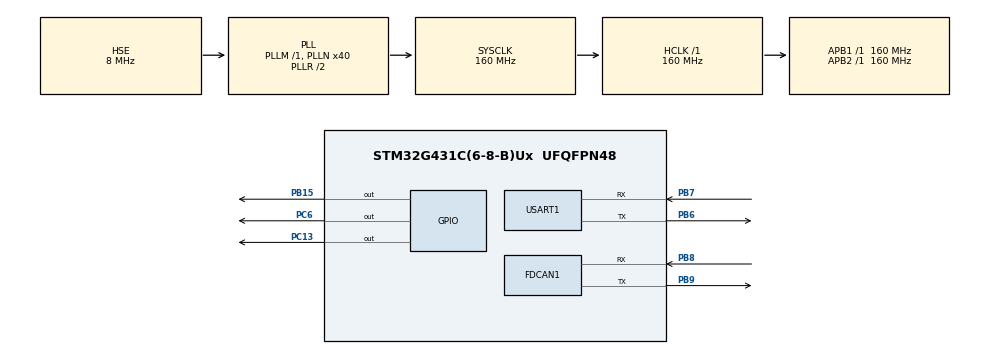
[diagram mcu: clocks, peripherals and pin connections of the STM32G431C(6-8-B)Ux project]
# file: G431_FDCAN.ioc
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Dma.Request0=USART1_RX
Dma.Request1=USART1_TX
Dma.USART1_RX.0.Direction=DMA_PERIPH_TO_MEMORY
Dma.USART1_RX.0.EventEnable=DISABLE
Dma.USART1_RX.0.Instance=DMA1_Channel1
Dma.USART1_RX.0.MemDataAlignment=DMA_MDATAALIGN_HALFWORD
Dma.USART1_RX.0.MemInc=DMA_MINC_ENABLE
Dma.USART1_RX.0.Mode=DMA_CIRCULAR
Dma.USART1_RX.0.PeriphDataAlignment=DMA_PDATAALIGN_BYTE
Dma.USART1_RX.0.PeriphInc=DMA_PINC_DISABLE
Dma.USART1_RX.0.Polarity=HAL_DMAMUX_REQ_GEN_RISING
Dma.USART1_RX.0.Priority=DMA_PRIORITY_LOW
Dma.USART1_RX.0.RequestNumber=1
Dma.USART1_RX.0.SignalID=NONE
Dma.USART1_RX.0.SyncEnable=DISABLE
Dma.USART1_RX.0.SyncPolarity=HAL_DMAMUX_SYNC_NO_EVENT
Dma.USART1_RX.0.SyncRequestNumber=1
Dma.USART1_RX.0.SyncSignalID=NONE
Dma.USART1_TX.1.Direction=DMA_MEMORY_TO_PERIPH
Dma.USART1_TX.1.EventEnable=DISABLE
Dma.USART1_TX.1.Instance=DMA1_Channel2
Dma.USART1_TX.1.MemDataAlignment=DMA_MDATAALIGN_BYTE
Dma.USART1_TX.1.MemInc=DMA_MINC_ENABLE
Dma.USART1_TX.1.Mode=DMA_NORMAL
Dma.USART1_TX.1.PeriphDataAlignment=DMA_PDATAALIGN_BYTE
Dma.USART1_TX.1.PeriphInc=DMA_PINC_DISABLE
Dma.USART1_TX.1.Polarity=HAL_DMAMUX_REQ_GEN_RISING
Dma.USART1_TX.1.Priority=DMA_PRIORITY_LOW
Dma.USART1_TX.1.RequestNumber=1
Dma.USART1_TX.1.SignalID=NONE
Dma.USART1_TX.1.SyncEnable=DISABLE
Dma.USART1_TX.1.SyncPolarity=HAL_DMAMUX_SYNC_NO_EVENT
Dma.USART1_TX.1.SyncRequestNumber=1
Dma.USART1_TX.1.SyncSignalID=NONE
FDCAN1.AutoRetransmission=ENABLE
FDCAN1.ClockDivider=FDCAN_CLOCK_DIV1
FDCAN1.DataPrescaler=4
FDCAN1.DataSyncJumpWidth=2
FDCAN1.DataTimeSeg1=7
FDCAN1.DataTimeSeg2=2
FDCAN1.FrameFormat=FDCAN_FRAME_FD_NO_BRS
FDCAN1.NominalPrescaler=4
FDCAN1.NominalSyncJumpWidth=6
FDCAN1.NominalTimeSeg1=33
FDCAN1.NominalTimeSeg2=6
FDCAN1.TransmitPause=ENABLE
FDCAN1.TxFifoQueueMode=FDCAN_TX_FIFO_OPERATION
Mcu.Family=STM32G4
Mcu.Name=STM32G431C(6-8-B)Ux
Mcu.Package=UFQFPN48
NVIC.DMA1_Channel1_IRQn=true\:0\:0\:false\:false\:true\:false\:true
NVIC.DMA1_Channel2_IRQn=true\:0\:0\:false\:false\:true\:false\:true
NVIC.FDCAN1_IT0_IRQn=true\:2\:0\:true\:false\:true\:true\:true
NVIC.PriorityGroup=NVIC_PRIORITYGROUP_4
NVIC.TIM1_UP_TIM16_IRQn=true\:1\:0\:true\:false\:true\:true\:true
NVIC.USART1_IRQn=true\:2\:0\:true\:false\:true\:true\:true
PA13.Mode=Serial_Wire
PA13.Signal=SYS_JTMS-SWDIO
PA14.Mode=Serial_Wire
PA14.Signal=SYS_JTCK-SWCLK
PB15.GPIO_PuPd=GPIO_PULLDOWN
PB15.GPIO_Speed=GPIO_SPEED_FREQ_MEDIUM
PB15.PinState=GPIO_PIN_RESET
PB15.Signal=GPIO_Output
PB6.Mode=Asynchronous
PB6.Signal=USART1_TX
PB7.Mode=Asynchronous
PB7.Signal=USART1_RX
PB8-BOOT0.GPIO_PuPd=GPIO_PULLUP
PB8-BOOT0.GPIO_Speed=GPIO_SPEED_FREQ_HIGH
PB8-BOOT0.Mode=FDCAN_Activate
PB8-BOOT0.Signal=FDCAN1_RX
PB9.GPIO_PuPd=GPIO_PULLUP
PB9.GPIO_Speed=GPIO_SPEED_FREQ_HIGH
PB9.Mode=FDCAN_Activate
PB9.Signal=FDCAN1_TX
PC13.GPIO_PuPd=GPIO_PULLUP
PC13.PinState=GPIO_PIN_SET
PC13.Signal=GPIO_Output
PC6.GPIO_PuPd=GPIO_PULLDOWN
PC6.GPIO_Speed=GPIO_SPEED_FREQ_MEDIUM
PC6.PinState=GPIO_PIN_RESET
PC6.Signal=GPIO_Output
PF0-OSC_IN.Mode=HSE-External-Oscillator
PF0-OSC_IN.Signal=RCC_OSC_IN
PF1-OSC_OUT.Mode=HSE-External-Oscillator
PF1-OSC_OUT.Signal=RCC_OSC_OUT
ProjectManager.HeapSize=0x200
ProjectManager.StackSize=0x400
ProjectManager.TargetToolchain=MDK-ARM V5.32
RCC.ADC12Freq_Value=160000000
RCC.AHBFreq_Value=160000000
RCC.APB1Freq_Value=160000000
RCC.APB1TimFreq_Value=160000000
RCC.APB2Freq_Value=160000000
RCC.APB2TimFreq_Value=160000000
RCC.CortexFreq_Value=160000000
RCC.EXTERNAL_CLOCK_VALUE=12288000
RCC.FDCANCLockSelection=RCC_FDCANCLKSOURCE_PLL
RCC.HCLKFreq_Value=160000000
RCC.HSE_VALUE=8000000
RCC.HSI48_VALUE=48000000
RCC.HSI_VALUE=16000000
RCC.LSE_VALUE=32768
RCC.PLLN=40
RCC.PLLSourceVirtual=RCC_PLLSOURCE_HSE
RCC.SYSCLKFreq_VALUE=160000000
RCC.SYSCLKSource=RCC_SYSCLKSOURCE_PLLCLK
RCC.USBFreq_Value=160000000
RCC.VCOOutputFreq_Value=320000000
TIM1.PeriodNoDither=1000-1
TIM1.Prescaler=160-1
USART1.MSBFirstParam=ADVFEATURE_MSBFIRST_ENABLE
USART1.VirtualMode-Asynchronous=VM_ASYNC
VP_SYS_VS_DBSignals.Mode=DisableDeadBatterySignals
VP_TIM1_VS_ClockSourceINT.Mode=Internal
board=custom

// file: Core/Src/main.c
/* USER CODE BEGIN Header */
/**
  ******************************************************************************
  * @file           : main.c
  * @brief          : Main program body
  ******************************************************************************
  * @attention
  *
  * Copyright (c) 2024 STMicroelectronics.
  * All rights reserved.
  *
  * This software is licensed under terms that can be found in the LICENSE file
  * in the root directory of this software component.
  * If no LICENSE file comes with this software, it is provided AS-IS.
  *
  ******************************************************************************
  */
/* USER CODE END Header */
#include "main.h"

FDCAN_HandleTypeDef hfdcan1;

TIM_HandleTypeDef htim1;

UART_HandleTypeDef huart1;
DMA_HandleTypeDef hdma_usart1_rx;
DMA_HandleTypeDef hdma_usart1_tx;

void SystemClock_Config(void);
static void MX_GPIO_Init(void);
static void MX_FDCAN1_Init(void);
static void MX_DMA_Init(void);
static void MX_USART1_UART_Init(void);
static void MX_TIM1_Init(void);

/* USER CODE BEGIN 0 */
FDCAN_TxHeaderTypeDef   TxHeader;
FDCAN_RxHeaderTypeDef   RxHeader;
//uint8_t               TxData[8] = {0XAA, 0XBB, 0XCC, 0XDD, 0XEE, 0XFF, 0XAF, 0XFA};
//uint8_t               RxData[8];
uint8_t               TxData[20] = {0XF0, 0xF1, 0XF2, 0XF3, 0XF4, 0XF5, 0XF6, 0XF7, 0XF8, 0XF9, 0XAA, 0XBB, 0XCC, 0XDD, 0XEE, 0XFF, 0XAF, 0XFA, 0X11, 0X22};
uint8_t               RxData[20];

	int indx = 0;
	uint32_t systick_cnt = 0;

void HAL_FDCAN_RxFifo0Callback(FDCAN_HandleTypeDef *hfdcan, uint32_t RxFifo0ITs)
{
  if((RxFifo0ITs & FDCAN_IT_RX_FIFO0_NEW_MESSAGE) != RESET)
  {
    /* Retreive Rx messages from RX FIFO0 */
    if (HAL_FDCAN_GetRxMessage(hfdcan, FDCAN_RX_FIFO0, &RxHeader, RxData) != HAL_OK)
    {
    /* Reception Error */
    Error_Handler();
    }
    if (HAL_FDCAN_ActivateNotification(hfdcan, FDCAN_IT_RX_FIFO0_NEW_MESSAGE, 0) != HAL_OK)
    {
      /* Notification Error */
      Error_Handler();
    }
  }
}

/* USER CODE END 0 */

int main(void)
{

  /* MCU Configuration--------------------------------------------------------*/

  /* Reset of all peripherals, Initializes the Flash interface and the Systick. */
  HAL_Init();

  /* Configure the system clock */
  SystemClock_Config();

  /* Initialize all configured peripherals */
  MX_GPIO_Init();
  MX_FDCAN1_Init();
  MX_DMA_Init();
  MX_USART1_UART_Init();
  MX_TIM1_Init();
  /* USER CODE BEGIN 2 */
	TxHeader.Identifier = 0x3;
  TxHeader.IdType = FDCAN_STANDARD_ID;
  TxHeader.TxFrameType = FDCAN_DATA_FRAME;
  TxHeader.DataLength = FDCAN_DLC_BYTES_20;
  TxHeader.ErrorStateIndicator = FDCAN_ESI_PASSIVE;
  TxHeader.BitRateSwitch = FDCAN_BRS_OFF;
  TxHeader.FDFormat = FDCAN_FD_CAN;
  TxHeader.TxEventFifoControl = FDCAN_NO_TX_EVENTS;
  TxHeader.MessageMarker = 0;
	  if(HAL_FDCAN_Start(&hfdcan1)!= HAL_OK)
  {
	  Error_Handler();
  }
  if (HAL_FDCAN_ActivateNotification(&hfdcan1, FDCAN_IT_RX_FIFO0_NEW_MESSAGE, 0) != HAL_OK)
  {
    /* Notification Error */
    Error_Handler();
  }

		__HAL_TIM_CLEAR_FLAG(&htim1, TIM_FLAG_UPDATE);

	HAL_TIM_Base_Start(&htim1);

	htim1.Instance->DIER |=0x0001;

  /* USER CODE END 2 */

  /* Infinite loop */
  while (1)
  {

  }
}

void SystemClock_Config(void)
{
  RCC_OscInitTypeDef RCC_OscInitStruct = {0};
  RCC_ClkInitTypeDef RCC_ClkInitStruct = {0};

  /** Configure the main internal regulator output voltage
  */
  HAL_PWREx_ControlVoltageScaling(PWR_REGULATOR_VOLTAGE_SCALE1_BOOST);
  /** Initializes the RCC Oscillators according to the specified parameters
  * in the RCC_OscInitTypeDef structure.
  */
  RCC_OscInitStruct.OscillatorType = RCC_OSCILLATORTYPE_HSE;
  RCC_OscInitStruct.HSEState = RCC_HSE_ON;
  RCC_OscInitStruct.PLL.PLLState = RCC_PLL_ON;
  RCC_OscInitStruct.PLL.PLLSource = RCC_PLLSOURCE_HSE;
  RCC_OscInitStruct.PLL.PLLM = RCC_PLLM_DIV1;
  RCC_OscInitStruct.PLL.PLLN = 40;
  RCC_OscInitStruct.PLL.PLLP = RCC_PLLP_DIV2;
  RCC_OscInitStruct.PLL.PLLQ = RCC_PLLQ_DIV2;
  RCC_OscInitStruct.PLL.PLLR = RCC_PLLR_DIV2;
  if (HAL_RCC_OscConfig(&RCC_OscInitStruct) != HAL_OK)
  {
    Error_Handler();
  }
  /** Initializes the CPU, AHB and APB buses clocks
  */
  RCC_ClkInitStruct.ClockType = RCC_CLOCKTYPE_HCLK|RCC_CLOCKTYPE_SYSCLK
                              |RCC_CLOCKTYPE_PCLK1|RCC_CLOCKTYPE_PCLK2;
  RCC_ClkInitStruct.SYSCLKSource = RCC_SYSCLKSOURCE_PLLCLK;
  RCC_ClkInitStruct.AHBCLKDivider = RCC_SYSCLK_DIV1;
  RCC_ClkInitStruct.APB1CLKDivider = RCC_HCLK_DIV1;
  RCC_ClkInitStruct.APB2CLKDivider = RCC_HCLK_DIV1;

  if (HAL_RCC_ClockConfig(&RCC_ClkInitStruct, FLASH_LATENCY_4) != HAL_OK)
  {
    Error_Handler();
  }
}

static void MX_FDCAN1_Init(void)
{

  hfdcan1.Instance = FDCAN1;
  hfdcan1.Init.ClockDivider = FDCAN_CLOCK_DIV1;
  hfdcan1.Init.FrameFormat = FDCAN_FRAME_FD_NO_BRS;
  hfdcan1.Init.Mode = FDCAN_MODE_NORMAL;
  hfdcan1.Init.AutoRetransmission = ENABLE;
  hfdcan1.Init.TransmitPause = ENABLE;
  hfdcan1.Init.ProtocolException = DISABLE;
  hfdcan1.Init.NominalPrescaler = 4;
  hfdcan1.Init.NominalSyncJumpWidth = 6;
  hfdcan1.Init.NominalTimeSeg1 = 33;
  hfdcan1.Init.NominalTimeSeg2 = 6;
  hfdcan1.Init.DataPrescaler = 4;
  hfdcan1.Init.DataSyncJumpWidth = 2;
  hfdcan1.Init.DataTimeSeg1 = 7;
  hfdcan1.Init.DataTimeSeg2 = 2;
  hfdcan1.Init.StdFiltersNbr = 0;
  hfdcan1.Init.ExtFiltersNbr = 0;
  hfdcan1.Init.TxFifoQueueMode = FDCAN_TX_FIFO_OPERATION;
  if (HAL_FDCAN_Init(&hfdcan1) != HAL_OK)
  {
    Error_Handler();
  }
  /* USER CODE BEGIN FDCAN1_Init 2 */
	FDCAN_FilterTypeDef sFilterConfig;

  sFilterConfig.IdType = FDCAN_STANDARD_ID;
  sFilterConfig.FilterIndex = 0;
  sFilterConfig.FilterType = FDCAN_FILTER_MASK;
  sFilterConfig.FilterConfig = FDCAN_FILTER_TO_RXFIFO0;
  sFilterConfig.FilterID1 = 0x1;
  sFilterConfig.FilterID2 = 0x1;
//  sFilterConfig.RxBufferIndex = 0;
  if (HAL_FDCAN_ConfigFilter(&hfdcan1, &sFilterConfig) != HAL_OK)
  {
    /* Filter configuration Error */
    Error_Handler();
  }
  /* USER CODE END FDCAN1_Init 2 */

}

static void MX_TIM1_Init(void)
{

  TIM_ClockConfigTypeDef sClockSourceConfig = {0};
  TIM_MasterConfigTypeDef sMasterConfig = {0};

  htim1.Instance = TIM1;
  htim1.Init.Prescaler = 160-1;
  htim1.Init.CounterMode = TIM_COUNTERMODE_UP;
  htim1.Init.Period = 999;
  htim1.Init.ClockDivision = TIM_CLOCKDIVISION_DIV1;
  htim1.Init.RepetitionCounter = 0;
  htim1.Init.AutoReloadPreload = TIM_AUTORELOAD_PRELOAD_DISABLE;
  if (HAL_TIM_Base_Init(&htim1) != HAL_OK)
  {
    Error_Handler();
  }
  sClockSourceConfig.ClockSource = TIM_CLOCKSOURCE_INTERNAL;
  if (HAL_TIM_ConfigClockSource(&htim1, &sClockSourceConfig) != HAL_OK)
  {
    Error_Handler();
  }
  sMasterConfig.MasterOutputTrigger = TIM_TRGO_RESET;
  sMasterConfig.MasterOutputTrigger2 = TIM_TRGO2_RESET;
  sMasterConfig.MasterSlaveMode = TIM_MASTERSLAVEMODE_DISABLE;
  if (HAL_TIMEx_MasterConfigSynchronization(&htim1, &sMasterConfig) != HAL_OK)
  {
    Error_Handler();
  }

}

static void MX_USART1_UART_Init(void)
{

  huart1.Instance = USART1;
  huart1.Init.BaudRate = 115200;
  huart1.Init.WordLength = UART_WORDLENGTH_8B;
  huart1.Init.StopBits = UART_STOPBITS_1;
  huart1.Init.Parity = UART_PARITY_NONE;
  huart1.Init.Mode = UART_MODE_TX_RX;
  huart1.Init.HwFlowCtl = UART_HWCONTROL_NONE;
  huart1.Init.OverSampling = UART_OVERSAMPLING_16;
  huart1.Init.OneBitSampling = UART_ONE_BIT_SAMPLE_DISABLE;
  huart1.Init.ClockPrescaler = UART_PRESCALER_DIV1;
  huart1.AdvancedInit.AdvFeatureInit = UART_ADVFEATURE_MSBFIRST_INIT;
  huart1.AdvancedInit.MSBFirst = UART_ADVFEATURE_MSBFIRST_ENABLE;
  if (HAL_UART_Init(&huart1) != HAL_OK)
  {
    Error_Handler();
  }
  if (HAL_UARTEx_SetTxFifoThreshold(&huart1, UART_TXFIFO_THRESHOLD_1_8) != HAL_OK)
  {
    Error_Handler();
  }
  if (HAL_UARTEx_SetRxFifoThreshold(&huart1, UART_RXFIFO_THRESHOLD_1_8) != HAL_OK)
  {
    Error_Handler();
  }
  if (HAL_UARTEx_DisableFifoMode(&huart1) != HAL_OK)
  {
    Error_Handler();
  }

}

static void MX_DMA_Init(void)
{

  /* DMA controller clock enable */
  __HAL_RCC_DMAMUX1_CLK_ENABLE();
  __HAL_RCC_DMA1_CLK_ENABLE();

  /* DMA interrupt init */
  /* DMA1_Channel1_IRQn interrupt configuration */
  HAL_NVIC_SetPriority(DMA1_Channel1_IRQn, 0, 0);
  HAL_NVIC_EnableIRQ(DMA1_Channel1_IRQn);
  /* DMA1_Channel2_IRQn interrupt configuration */
  HAL_NVIC_SetPriority(DMA1_Channel2_IRQn, 0, 0);
  HAL_NVIC_EnableIRQ(DMA1_Channel2_IRQn);

}

static void MX_GPIO_Init(void)
{
  GPIO_InitTypeDef GPIO_InitStruct = {0};

  /* GPIO Ports Clock Enable */
  __HAL_RCC_GPIOC_CLK_ENABLE();
  __HAL_RCC_GPIOF_CLK_ENABLE();
  __HAL_RCC_GPIOB_CLK_ENABLE();
  __HAL_RCC_GPIOA_CLK_ENABLE();

  /*Configure GPIO pin Output Level */
  HAL_GPIO_WritePin(GPIOC, GPIO_PIN_13, GPIO_PIN_SET);

  /*Configure GPIO pin Output Level */
  HAL_GPIO_WritePin(GPIOB, GPIO_PIN_15, GPIO_PIN_RESET);

  /*Configure GPIO pin Output Level */
  HAL_GPIO_WritePin(GPIOC, GPIO_PIN_6, GPIO_PIN_RESET);

  /*Configure GPIO pin : PC13 */
  GPIO_InitStruct.Pin = GPIO_PIN_13;
  GPIO_InitStruct.Mode = GPIO_MODE_OUTPUT_PP;
  GPIO_InitStruct.Pull = GPIO_PULLUP;
  GPIO_InitStruct.Speed = GPIO_SPEED_FREQ_LOW;
  HAL_GPIO_Init(GPIOC, &GPIO_InitStruct);

  /*Configure GPIO pin : PB15 */
  GPIO_InitStruct.Pin = GPIO_PIN_15;
  GPIO_InitStruct.Mode = GPIO_MODE_OUTPUT_PP;
  GPIO_InitStruct.Pull = GPIO_PULLDOWN;
  GPIO_InitStruct.Speed = GPIO_SPEED_FREQ_MEDIUM;
  HAL_GPIO_Init(GPIOB, &GPIO_InitStruct);

  /*Configure GPIO pin : PC6 */
  GPIO_InitStruct.Pin = GPIO_PIN_6;
  GPIO_InitStruct.Mode = GPIO_MODE_OUTPUT_PP;
  GPIO_InitStruct.Pull = GPIO_PULLDOWN;
  GPIO_InitStruct.Speed = GPIO_SPEED_FREQ_MEDIUM;
  HAL_GPIO_Init(GPIOC, &GPIO_InitStruct);

}

void Error_Handler(void)
{
  __disable_irq();
  while (1)
  {
  }
}
